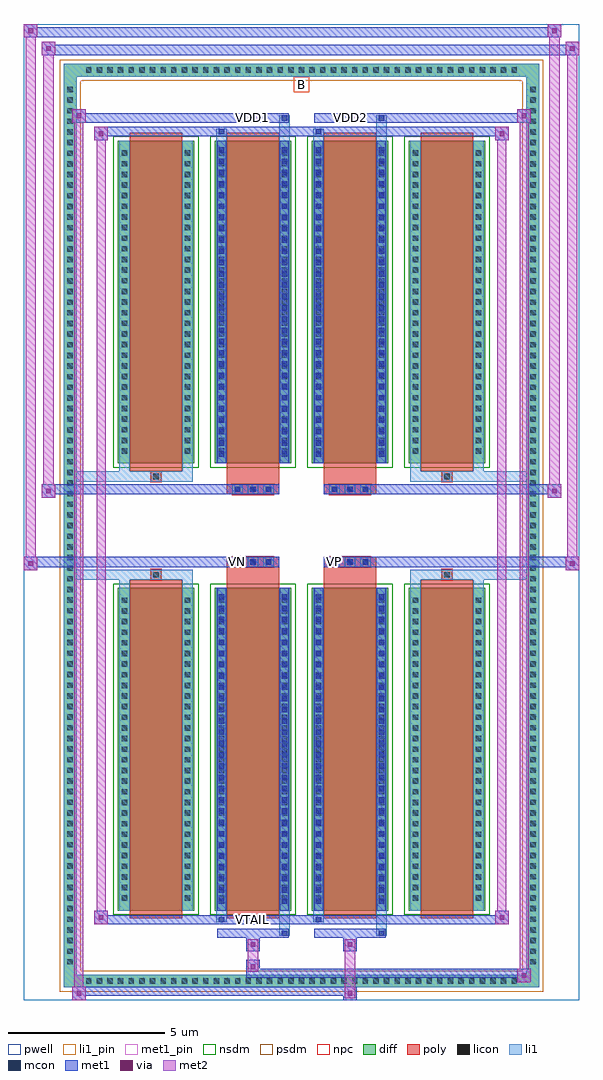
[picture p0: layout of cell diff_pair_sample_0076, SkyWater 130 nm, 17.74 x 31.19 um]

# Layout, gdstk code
import gdstk
lib = gdstk.Library(unit=1e-6, precision=5e-09)
def R(c, l, rs):  # rectangles x0, y0, x1, y1
    for r in rs: c.add(gdstk.rectangle(r[:2], r[2:], *l))
def A(c, l, x, y, w, h, nx, ny, dx, dy):  # array of equal rectangles
    R(c, l, [(x+i*dx, y+j*dy, x+i*dx+w, y+j*dy+h) for i in range(nx) for j in range(ny)])
def P(c, l, *ps):  # polygons
    for p in ps: c.add(gdstk.Polygon(p, *l))
pwell = (64, 44)
diff = (65, 20)
poly = (66, 20)
licon = (66, 44)
li1_pin = (67, 16)
li1 = (67, 20)
mcon = (67, 44)
met1_pin = (68, 16)
met1 = (68, 20)
via = (68, 44)
met2 = (69, 20)
nsdm = (93, 44)
psdm = (94, 20)
npc = (95, 20)

diff_pair_sample_0076 = lib.new_cell('diff_pair_sample_0076')
R(diff_pair_sample_0076, pwell, [(-8.87,-15.16,8.87,16.03), (-6.19,-13.35,-0.01,-0.795), (0.01,-13.35,6.19,-0.795), (-6.19,0.795,-0.01,13.35), (0.01,0.795,6.19,13.35)])
A(diff_pair_sample_0076, diff, -7.005, -14.76, 0.41, 0.41, 41, 2, 0.34, 29.11)
A(diff_pair_sample_0076, diff, -7.6, -14.145, 0.41, 0.41, 1, 83, 0, 0.34)
A(diff_pair_sample_0076, diff, 7.19, -14.145, 0.41, 0.41, 1, 83, 0, 0.34)
A(diff_pair_sample_0076, diff, -5.88, -12.305, 2.46, 10.32, 4, 2, 3.1, 14.29)
R(diff_pair_sample_0076, diff, [(-7.005,-14.76,7.005,-14.35), (-7.6,-14.145,-7.19,14.145), (7.19,-14.145,7.6,14.145), (-7.005,14.35,7.005,14.76)])
P(diff_pair_sample_0076, diff, [(7.6,14.76),(-7.6,14.76),(-7.6,-14.35),(-7.19,-14.35),(-7.19,14.35),(7.19,14.35),(7.19,-14.35),(-7.19,-14.35),(-7.6,-14.35),(-7.6,-14.76),(7.6,-14.76)])
A(diff_pair_sample_0076, poly, -5.49, -12.555, 1.68, 10.82, 4, 2, 3.1, 14.29)
A(diff_pair_sample_0076, poly, -2.215, -1.325, 0.33, 0.33, 3, 2, 0.5, 2.32)
A(diff_pair_sample_0076, poly, 0.885, -1.325, 0.33, 0.33, 3, 2, 0.5, 2.32)
R(diff_pair_sample_0076, poly, [(-4.815,-1.735,-4.485,-1.405), (-4.815,-1.735,-4.485,-1.405), (-2.39,-1.735,-0.71,-1.325), (0.71,-1.735,2.39,-1.325), (4.485,-1.735,4.815,-1.405), (4.485,-1.735,4.815,-1.405), (-2.39,-1.325,-0.71,-0.995), (0.71,-1.325,2.39,-0.995), (-2.39,0.995,-0.71,1.325), (0.71,0.995,2.39,1.325), (-2.39,1.325,-0.71,1.735), (0.71,1.325,2.39,1.735), (-4.815,1.405,-4.485,1.735), (-4.815,1.405,-4.485,1.735), (4.485,1.405,4.815,1.735), (4.485,1.405,4.815,1.735)])
A(diff_pair_sample_0076, licon, -6.885, -14.64, 0.17, 0.17, 41, 2, 0.34, 29.11)
A(diff_pair_sample_0076, licon, -7.48, -14.025, 0.17, 0.17, 1, 83, 0, 0.34)
A(diff_pair_sample_0076, licon, 7.31, -14.025, 0.17, 0.17, 1, 83, 0, 0.34)
A(diff_pair_sample_0076, licon, -5.74, -11.99, 0.17, 0.17, 1, 29, 0, 0.34)
A(diff_pair_sample_0076, licon, -3.73, -11.99, 0.17, 0.17, 1, 29, 0, 0.34)
A(diff_pair_sample_0076, licon, -2.64, -11.99, 0.17, 0.17, 1, 29, 0, 0.34)
A(diff_pair_sample_0076, licon, -0.63, -11.99, 0.17, 0.17, 1, 29, 0, 0.34)
A(diff_pair_sample_0076, licon, 0.46, -11.99, 0.17, 0.17, 1, 29, 0, 0.34)
A(diff_pair_sample_0076, licon, 2.47, -11.99, 0.17, 0.17, 1, 29, 0, 0.34)
A(diff_pair_sample_0076, licon, 3.56, -11.99, 0.17, 0.17, 1, 29, 0, 0.34)
A(diff_pair_sample_0076, licon, 5.57, -11.99, 0.17, 0.17, 1, 29, 0, 0.34)
A(diff_pair_sample_0076, licon, -2.135, -1.245, 0.17, 0.17, 3, 2, 0.5, 2.32)
A(diff_pair_sample_0076, licon, 0.965, -1.245, 0.17, 0.17, 3, 2, 0.5, 2.32)
A(diff_pair_sample_0076, licon, -5.74, 2.3, 0.17, 0.17, 1, 29, 0, 0.34)
A(diff_pair_sample_0076, licon, -3.73, 2.3, 0.17, 0.17, 1, 29, 0, 0.34)
A(diff_pair_sample_0076, licon, -2.64, 2.3, 0.17, 0.17, 1, 29, 0, 0.34)
A(diff_pair_sample_0076, licon, -0.63, 2.3, 0.17, 0.17, 1, 29, 0, 0.34)
A(diff_pair_sample_0076, licon, 0.46, 2.3, 0.17, 0.17, 1, 29, 0, 0.34)
A(diff_pair_sample_0076, licon, 2.47, 2.3, 0.17, 0.17, 1, 29, 0, 0.34)
A(diff_pair_sample_0076, licon, 3.56, 2.3, 0.17, 0.17, 1, 29, 0, 0.34)
A(diff_pair_sample_0076, licon, 5.57, 2.3, 0.17, 0.17, 1, 29, 0, 0.34)
R(diff_pair_sample_0076, licon, [(-4.735,-1.655,-4.565,-1.485), (4.565,-1.655,4.735,-1.485), (-4.735,1.485,-4.565,1.655), (4.565,1.485,4.735,1.655)])
R(diff_pair_sample_0076, li1_pin, [(-0.25,13.85,0.25,14.35)])
A(diff_pair_sample_0076, li1, -6.965, -14.72, 0.33, 0.33, 41, 2, 0.34, 29.11)
A(diff_pair_sample_0076, li1, -7.56, -14.105, 0.33, 0.33, 1, 83, 0, 0.34)
A(diff_pair_sample_0076, li1, 7.23, -14.105, 0.33, 0.33, 1, 83, 0, 0.34)
A(diff_pair_sample_0076, li1, -2.64, -12.09, 0.17, 0.17, 1, 28, 0, 0.36)
A(diff_pair_sample_0076, li1, -0.63, -12.09, 0.17, 0.17, 1, 28, 0, 0.36)
A(diff_pair_sample_0076, li1, 0.46, -12.09, 0.17, 0.17, 1, 28, 0, 0.36)
A(diff_pair_sample_0076, li1, 2.47, -12.09, 0.17, 0.17, 1, 28, 0, 0.36)
A(diff_pair_sample_0076, li1, -5.82, -12.07, 0.33, 0.33, 1, 29, 0, 0.34)
A(diff_pair_sample_0076, li1, -3.81, -12.07, 0.33, 0.33, 1, 29, 0, 0.34)
A(diff_pair_sample_0076, li1, -2.72, -12.07, 0.33, 0.33, 1, 29, 0, 0.34)
A(diff_pair_sample_0076, li1, -0.71, -12.07, 0.33, 0.33, 1, 29, 0, 0.34)
A(diff_pair_sample_0076, li1, 0.38, -12.07, 0.33, 0.33, 1, 29, 0, 0.34)
A(diff_pair_sample_0076, li1, 2.39, -12.07, 0.33, 0.33, 1, 29, 0, 0.34)
A(diff_pair_sample_0076, li1, 3.48, -12.07, 0.33, 0.33, 1, 29, 0, 0.34)
A(diff_pair_sample_0076, li1, 5.49, -12.07, 0.33, 0.33, 1, 29, 0, 0.34)
A(diff_pair_sample_0076, li1, -2.215, -1.325, 0.33, 0.33, 3, 2, 0.5, 2.32)
A(diff_pair_sample_0076, li1, 0.885, -1.325, 0.33, 0.33, 3, 2, 0.5, 2.32)
A(diff_pair_sample_0076, li1, -2.64, 2.2, 0.17, 0.17, 1, 28, 0, 0.36)
A(diff_pair_sample_0076, li1, -0.63, 2.2, 0.17, 0.17, 1, 28, 0, 0.36)
A(diff_pair_sample_0076, li1, 0.46, 2.2, 0.17, 0.17, 1, 28, 0, 0.36)
A(diff_pair_sample_0076, li1, 2.47, 2.2, 0.17, 0.17, 1, 28, 0, 0.36)
A(diff_pair_sample_0076, li1, -5.82, 2.22, 0.33, 0.33, 1, 29, 0, 0.34)
A(diff_pair_sample_0076, li1, -3.81, 2.22, 0.33, 0.33, 1, 29, 0, 0.34)
A(diff_pair_sample_0076, li1, -2.72, 2.22, 0.33, 0.33, 1, 29, 0, 0.34)
A(diff_pair_sample_0076, li1, -0.71, 2.22, 0.33, 0.33, 1, 29, 0, 0.34)
A(diff_pair_sample_0076, li1, 0.38, 2.22, 0.33, 0.33, 1, 29, 0, 0.34)
A(diff_pair_sample_0076, li1, 2.39, 2.22, 0.33, 0.33, 1, 29, 0, 0.34)
A(diff_pair_sample_0076, li1, 3.48, 2.22, 0.33, 0.33, 1, 29, 0, 0.34)
A(diff_pair_sample_0076, li1, 5.49, 2.22, 0.33, 0.33, 1, 29, 0, 0.34)
R(diff_pair_sample_0076, li1, [(-7.6,-14.76,-7.19,-14.35), (-7.6,-14.76,-7.19,-14.35), (-7.19,-14.76,7.19,-14.35), (7.19,-14.76,7.6,-14.35), (7.19,-14.76,7.6,-14.35), (-7.6,-14.35,-7.19,14.35), (7.19,-14.35,7.6,14.35), (-0.71,-13.11,-0.38,-12.305), (-0.63,-13.11,-0.46,-12.94), (2.39,-13.11,2.72,-12.305), (2.47,-13.11,2.64,-12.94), (-2.72,-12.68,-2.39,-12.305), (-2.64,-12.68,-2.47,-12.51), (0.38,-12.68,0.71,-12.305), (0.46,-12.68,0.63,-12.51), (-5.82,-12.305,-5.49,-1.985), (-3.81,-12.305,-3.48,-1.985), (-2.72,-12.305,-2.39,-1.985), (-0.71,-12.305,-0.38,-1.985), (0.38,-12.305,0.71,-1.985), (2.39,-12.305,2.72,-1.985), (3.48,-12.305,3.81,-1.985), (5.49,-12.305,5.82,-1.985), (-2.64,-12.09,-2.47,-2.2), (-0.63,-12.09,-0.46,-2.2), (0.46,-12.09,0.63,-2.2), (2.47,-12.09,2.64,-2.2), (-5.82,-1.985,-5.49,-1.405), (-3.81,-1.985,-3.48,-1.405), (3.48,-1.985,3.81,-1.405), (5.49,-1.985,5.82,-1.405), (-7.6,-1.735,-4.815,-1.405), (-5.82,-1.735,-4.815,-1.405), (-4.815,-1.735,-4.485,-1.405), (-4.485,-1.735,-3.48,-1.405), (3.48,-1.735,4.485,-1.405), (4.485,-1.735,4.815,-1.405), (4.485,-1.735,7.6,-1.405), (4.815,-1.735,5.82,-1.405), (-7.6,1.405,-4.815,1.735), (-5.82,1.405,-4.815,1.735), (-5.82,1.405,-5.49,1.985), (-4.815,1.405,-4.485,1.735), (-4.485,1.405,-3.48,1.735), (-3.81,1.405,-3.48,1.985), (3.48,1.405,4.485,1.735), (3.48,1.405,3.81,1.985), (4.485,1.405,4.815,1.735), (4.485,1.405,7.6,1.735), (4.815,1.405,5.82,1.735), (5.49,1.405,5.82,1.985), (-5.82,1.985,-5.49,12.305), (-3.81,1.985,-3.48,12.305), (-2.72,1.985,-2.39,12.305), (-0.71,1.985,-0.38,12.305), (0.38,1.985,0.71,12.305), (2.39,1.985,2.72,12.305), (3.48,1.985,3.81,12.305), (5.49,1.985,5.82,12.305), (-2.64,2.2,-2.47,12.09), (-0.63,2.2,-0.46,12.09), (0.46,2.2,0.63,12.09), (2.47,2.2,2.64,12.09), (-2.72,12.305,-2.39,12.68), (-0.71,12.305,-0.38,13.11), (0.38,12.305,0.71,12.68), (2.39,12.305,2.72,13.11), (-2.64,12.51,-2.47,12.68), (0.46,12.51,0.63,12.68), (-0.63,12.94,-0.46,13.11), (2.47,12.94,2.64,13.11), (-7.6,14.35,-7.19,14.76), (-7.6,14.35,-7.19,14.76), (-7.19,14.35,7.19,14.76), (7.19,14.35,7.6,14.76), (7.19,14.35,7.6,14.76)])
A(diff_pair_sample_0076, mcon, -2.64, -12.09, 0.17, 0.17, 1, 28, 0, 0.36)
A(diff_pair_sample_0076, mcon, -0.63, -12.09, 0.17, 0.17, 1, 28, 0, 0.36)
A(diff_pair_sample_0076, mcon, 0.46, -12.09, 0.17, 0.17, 1, 28, 0, 0.36)
A(diff_pair_sample_0076, mcon, 2.47, -12.09, 0.17, 0.17, 1, 28, 0, 0.36)
A(diff_pair_sample_0076, mcon, -2.135, -1.245, 0.17, 0.17, 3, 2, 0.5, 2.32)
A(diff_pair_sample_0076, mcon, 0.965, -1.245, 0.17, 0.17, 3, 2, 0.5, 2.32)
A(diff_pair_sample_0076, mcon, -2.64, 2.2, 0.17, 0.17, 1, 28, 0, 0.36)
A(diff_pair_sample_0076, mcon, -0.63, 2.2, 0.17, 0.17, 1, 28, 0, 0.36)
A(diff_pair_sample_0076, mcon, 0.46, 2.2, 0.17, 0.17, 1, 28, 0, 0.36)
A(diff_pair_sample_0076, mcon, 2.47, 2.2, 0.17, 0.17, 1, 28, 0, 0.36)
R(diff_pair_sample_0076, mcon, [(-0.63,-13.11,-0.46,-12.94), (2.47,-13.11,2.64,-12.94), (-2.64,-12.68,-2.47,-12.51), (0.46,-12.68,0.63,-12.51), (-2.64,12.51,-2.47,12.68), (0.46,12.51,0.63,12.68), (-0.63,12.94,-0.46,13.11), (2.47,12.94,2.64,13.11)])
R(diff_pair_sample_0076, met1_pin, [(-1.685,-12.72,-1.415,-12.45), (-2.185,-1.285,-1.915,-1.015), (0.915,-1.285,1.185,-1.015), (-1.685,12.9,-1.415,13.17), (1.415,12.9,1.685,13.17)])
A(diff_pair_sample_0076, met1, -2.7, -12.15, 0.29, 0.29, 1, 28, 0, 0.36)
A(diff_pair_sample_0076, met1, -0.69, -12.15, 0.29, 0.29, 1, 28, 0, 0.36)
A(diff_pair_sample_0076, met1, 0.4, -12.15, 0.29, 0.29, 1, 28, 0, 0.36)
A(diff_pair_sample_0076, met1, 2.41, -12.15, 0.29, 0.29, 1, 28, 0, 0.36)
A(diff_pair_sample_0076, met1, -2.195, -1.305, 0.29, 0.29, 3, 2, 0.5, 2.32)
A(diff_pair_sample_0076, met1, 0.905, -1.305, 0.29, 0.29, 3, 2, 0.5, 2.32)
A(diff_pair_sample_0076, met1, -2.7, 2.14, 0.29, 0.29, 1, 28, 0, 0.36)
A(diff_pair_sample_0076, met1, -0.69, 2.14, 0.29, 0.29, 1, 28, 0, 0.36)
A(diff_pair_sample_0076, met1, 0.4, 2.14, 0.29, 0.29, 1, 28, 0, 0.36)
A(diff_pair_sample_0076, met1, 2.41, 2.14, 0.29, 0.29, 1, 28, 0, 0.36)
R(diff_pair_sample_0076, met1, [(-7.33,-15.16,-6.9,-14.73), (1.335,-15.16,1.765,-14.73), (-7.33,-15.02,1.765,-14.73), (6.9,-14.59,7.33,-14.16), (-1.765,-14.45,7.33,-14.16), (-1.765,-14.31,-1.335,-13.88), (-1.765,-13.6,-1.335,-13.17), (1.335,-13.6,1.765,-13.17), (-2.7,-13.17,-0.4,-12.88), (-0.69,-13.17,-0.4,-12.88), (0.4,-13.17,2.7,-12.88), (2.41,-13.17,2.7,-12.88), (-6.62,-12.74,-6.19,-12.31), (-6.62,-12.74,-2.7,-12.45), (-2.7,-12.74,-2.41,-12.45), (-2.7,-12.74,-0.4,-12.45), (-0.4,-12.74,0.4,-12.45), (0.4,-12.74,0.69,-12.45), (0.4,-12.74,2.7,-12.45), (2.7,-12.74,6.62,-12.45), (6.19,-12.74,6.62,-12.31), (-2.7,-12.305,-2.41,-1.985), (-0.69,-12.305,-0.4,-1.985), (0.4,-12.305,0.69,-1.985), (2.41,-12.305,2.7,-1.985), (-8.87,-1.425,-8.44,-0.995), (8.44,-1.425,8.87,-0.995), (-8.87,-1.325,-0.71,-0.995), (-2.39,-1.325,-0.71,-0.995), (0.71,-1.325,2.39,-0.995), (0.71,-1.325,8.87,-0.995), (-8.3,0.895,-7.87,1.325), (7.87,0.895,8.3,1.325), (-8.3,0.995,-2.39,1.325), (-2.39,0.995,-0.71,1.325), (0.71,0.995,2.39,1.325), (2.39,0.995,8.3,1.325), (-2.7,1.985,-2.41,12.305), (-0.69,1.985,-0.4,12.305), (0.4,1.985,0.69,12.305), (2.41,1.985,2.7,12.305), (-6.62,12.31,-6.19,12.74), (6.19,12.31,6.62,12.74), (-6.62,12.45,-2.7,12.74), (-2.7,12.45,-2.41,12.74), (-2.7,12.45,-0.4,12.74), (-0.4,12.45,0.4,12.74), (0.4,12.45,0.69,12.74), (0.4,12.45,2.7,12.74), (2.7,12.45,6.62,12.74), (-7.33,12.88,-6.9,13.31), (-7.33,12.88,-2.7,13.17), (-2.7,12.88,-0.4,13.17), (-0.69,12.88,-0.4,13.17), (0.4,12.88,2.7,13.17), (2.41,12.88,2.7,13.17), (2.7,12.88,7.33,13.17), (6.9,12.88,7.33,13.31), (-8.3,15.03,-7.87,15.46), (-8.3,15.03,-6.19,15.36), (-6.19,15.03,6.19,15.36), (6.19,15.03,8.87,15.36), (8.44,15.03,8.87,15.46), (-8.87,15.6,-8.44,16.03), (-8.87,15.6,-6.19,15.93), (-6.19,15.6,6.19,15.93), (6.19,15.6,8.3,15.93), (7.87,15.6,8.3,16.03)])
R(diff_pair_sample_0076, via, [(-7.19,-15.02,-7.04,-14.87), (1.475,-15.02,1.625,-14.87), (7.04,-14.45,7.19,-14.3), (-1.625,-14.17,-1.475,-14.02), (-1.625,-13.46,-1.475,-13.31), (1.475,-13.46,1.625,-13.31), (-6.48,-12.6,-6.33,-12.45), (6.33,-12.6,6.48,-12.45), (-8.73,-1.285,-8.58,-1.135), (8.58,-1.285,8.73,-1.135), (-8.16,1.035,-8.01,1.185), (8.01,1.035,8.16,1.185), (-6.48,12.45,-6.33,12.6), (6.33,12.45,6.48,12.6), (-7.19,13.02,-7.04,13.17), (7.04,13.02,7.19,13.17), (-8.16,15.17,-8.01,15.32), (8.58,15.17,8.73,15.32), (-8.73,15.74,-8.58,15.89), (8.01,15.74,8.16,15.89)])
R(diff_pair_sample_0076, met2, [(-7.33,-15.16,-6.9,-14.73), (-7.26,-15.16,-6.97,13.31), (-6.97,-15.16,-6.9,-14.73), (-7.28,-15.11,-6.95,-14.78), (1.385,-15.11,1.715,-14.78), (1.385,-14.78,1.715,-13.55), (6.9,-14.59,7.33,-14.16), (6.97,-14.59,7.26,13.31), (7.26,-14.59,7.33,-14.16), (6.95,-14.54,7.28,-14.21), (-1.715,-14.26,-1.385,-13.93), (-1.715,-13.93,-1.385,-13.55), (-1.715,-13.55,-1.385,-13.22), (1.385,-13.55,1.715,-13.22), (-6.62,-12.74,-6.19,-12.31), (-6.55,-12.74,-6.26,12.74), (-6.26,-12.74,-6.19,-12.31), (6.19,-12.74,6.62,-12.31), (6.26,-12.74,6.55,12.74), (6.55,-12.74,6.62,-12.31), (-6.57,-12.69,-6.24,-12.36), (6.24,-12.69,6.57,-12.36), (-8.87,-1.425,-8.44,-0.995), (-8.82,-1.425,-8.49,16.03), (-8.49,-1.425,-8.44,-0.995), (8.44,-1.425,8.87,-0.995), (8.49,-1.425,8.82,15.46), (8.82,-1.425,8.87,-0.995), (-8.82,-1.375,-8.49,-1.045), (8.49,-1.375,8.82,-1.045), (-8.3,0.895,-7.87,1.325), (-8.25,0.895,-7.92,15.46), (-7.92,0.895,-7.87,1.325), (7.87,0.895,8.3,1.325), (7.92,0.895,8.25,16.03), (8.25,0.895,8.3,1.325), (-8.25,0.945,-7.92,1.275), (7.92,0.945,8.25,1.275), (-6.62,12.31,-6.19,12.74), (-6.26,12.31,-6.19,12.74), (6.19,12.31,6.62,12.74), (6.55,12.31,6.62,12.74), (-6.57,12.36,-6.24,12.69), (6.24,12.36,6.57,12.69), (-7.33,12.88,-6.9,13.31), (-6.97,12.88,-6.9,13.31), (6.9,12.88,7.33,13.31), (7.26,12.88,7.33,13.31), (-7.28,12.93,-6.95,13.26), (6.95,12.93,7.28,13.26), (-8.3,15.03,-7.87,15.46), (-7.92,15.03,-7.87,15.46), (8.44,15.03,8.87,15.46), (8.82,15.03,8.87,15.46), (-8.25,15.08,-7.92,15.41), (8.49,15.08,8.82,15.41), (-8.87,15.6,-8.44,16.03), (-8.49,15.6,-8.44,16.03), (7.87,15.6,8.3,16.03), (8.25,15.6,8.3,16.03), (-8.82,15.65,-8.49,15.98), (7.92,15.65,8.25,15.98)])
A(diff_pair_sample_0076, nsdm, -6.01, -12.435, 2.72, 10.58, 4, 2, 3.1, 14.29)
P(diff_pair_sample_0076, psdm, [(7.73,14.89),(-7.73,14.89),(-7.73,-14.22),(-7.06,-14.22),(-7.06,14.22),(7.06,14.22),(7.06,-14.22),(-7.06,-14.22),(-7.73,-14.22),(-7.73,-14.89),(7.73,-14.89)])
A(diff_pair_sample_0076, npc, -2.235, -1.345, 0.37, 0.37, 3, 2, 0.5, 2.32)
A(diff_pair_sample_0076, npc, 0.865, -1.345, 0.37, 0.37, 3, 2, 0.5, 2.32)
R(diff_pair_sample_0076, npc, [(-4.835,-1.755,-4.465,-1.385), (4.465,-1.755,4.835,-1.385), (-2.235,-1.345,-1.365,-0.975), (-2.235,-1.345,-1.365,-0.975), (-1.735,-1.345,-0.865,-0.975), (-1.735,-1.345,-0.865,-0.975), (0.865,-1.345,1.735,-0.975), (0.865,-1.345,1.735,-0.975), (1.365,-1.345,2.235,-0.975), (1.365,-1.345,2.235,-0.975), (-2.235,0.975,-1.365,1.345), (-2.235,0.975,-1.365,1.345), (-1.735,0.975,-0.865,1.345), (-1.735,0.975,-0.865,1.345), (0.865,0.975,1.735,1.345), (0.865,0.975,1.735,1.345), (1.365,0.975,2.235,1.345), (1.365,0.975,2.235,1.345), (-4.835,1.385,-4.465,1.755), (4.465,1.385,4.835,1.755)])
diff_pair_sample_0076.add(gdstk.Label('VTAIL', (-1.55,-12.585), layer=68, texttype=5))
diff_pair_sample_0076.add(gdstk.Label('VN', (-2.05,-1.15), layer=68, texttype=5))
diff_pair_sample_0076.add(gdstk.Label('VP', (1.05,-1.15), layer=68, texttype=5))
diff_pair_sample_0076.add(gdstk.Label('B', (0,14.1), layer=67, texttype=5))
diff_pair_sample_0076.add(gdstk.Label('VDD2', (1.55,13.035), layer=68, texttype=5))
diff_pair_sample_0076.add(gdstk.Label('VDD1', (-1.55,13.035), layer=68, texttype=5))

lib.write_gds('diff_pair_sample_0076.gds')
